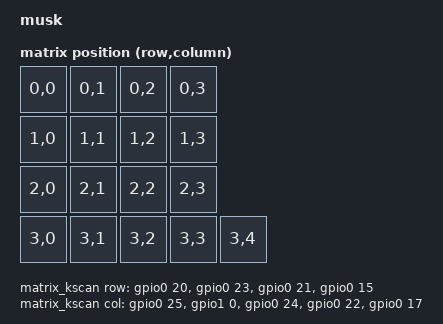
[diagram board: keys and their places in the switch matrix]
/*
 * Copyright (c) 2020 Pete Johanson
 *
 * SPDX-License-Identifier: MIT
 */

/dts-v1/;
#include <nordic/nrf52840_qiaa.dtsi>
#include <dt-bindings/zmk/matrix_transform.h>

/ {
    model = "musk";
    compatible = "musk";

    chosen {
        zephyr,code-partition = &code_partition;
        zephyr,sram = &sram0;
        zephyr,flash = &flash0;
        zmk,kscan = &matrix_kscan;
        zmk,matrix_transform = &transform;
        /* zmk,steno_flash = &spi_flash; */
        zmk,led-widgets-dev = &leds;
        zmk,battery = &bat;
    };

    transform: transform {
        compatible = "zmk,matrix-transform";
        columns = <5>;
        rows = <4>;
        map = <
RC(0,0) RC(0,1) RC(0,2) RC(0,3)
RC(1,0) RC(1,1) RC(1,2) RC(1,3)
RC(2,0) RC(2,1) RC(2,2) RC(2,3)
RC(3,0) RC(3,1) RC(3,2) RC(3,3) RC(3,4)
        >;
    };

    matrix_kscan: kscan0 {
        compatible = "zmk,kscan-gpio-matrix";
        label = "matrix_kscan";
        diode-direction = "col2row";
        row-gpios
            = <&gpio0 20 (GPIO_ACTIVE_HIGH | GPIO_PULL_DOWN)>
            , <&gpio0 23 (GPIO_ACTIVE_HIGH | GPIO_PULL_DOWN)>
            , <&gpio0 21 (GPIO_ACTIVE_HIGH | GPIO_PULL_DOWN)>
            , <&gpio0 15 (GPIO_ACTIVE_HIGH | GPIO_PULL_DOWN)>
            ;
        col-gpios
            = <&gpio0 25 GPIO_ACTIVE_HIGH>
            , <&gpio1  0 GPIO_ACTIVE_HIGH>
            , <&gpio0 24 GPIO_ACTIVE_HIGH>
            , <&gpio0 22 GPIO_ACTIVE_HIGH>
            , <&gpio0 17 GPIO_ACTIVE_HIGH>
            ;
    };

    leds: leds {
        compatible = "pwm-leds";
        red_led: led_r {
            pwms = <&pwm0 5>;
            label = "Red LED";
        };
        green_led: led_g {
            pwms = <&pwm0 4>;
            label = "Green LED";
        };
        blue_led: led_b {
            pwms = <&pwm0 26>;
            label = "Blue LED";
        };
    };

    nood {
        compatible = "pwm-leds";
        strip: led_y {
            pwms = <&pwm0 35>;
            label = "nOOd";
        };
    };

    bat: vbatt {
        compatible = "zmk,battery-voltage-divider";
        label = "BATTERY";
        io-channels = <&adc 7>;
        output-ohms = <1>;
        full-ohms = <(1 + 1)>;
        power-gpios = <&gpio0 27 GPIO_ACTIVE_LOW>;
    };

    led-widgets {
        compatible = "zmk,led-widgets";
        boot {
            boot {
                priority = <100>;
                blue { len-ms = <100>; brightness = <0 0 50>; };
                off { len-ms = <100>; };
                blue2 { len-ms = <100>; brightness = <0 0 50>; };
            };
        };
        battery {
            low {
                arg = <30>;
                priority = <50>;
                period-ms = <30000>;
                green { len-ms = <100>; brightness = <0 20 0>; };
                red { len-ms = <200>; brightness = <100 0 0>; };
            };
            mid {
                arg = <70>;
                priority = <50>;
                period-ms = <30000>;
                green { len-ms = <100>; brightness = <0 20 0>; };
                yellow { len-ms = <200>; brightness = <100 100 0>; };
            };
            high {
                arg = <100>;
                priority = <50>;
                period-ms = <30000>;
                green { len-ms = <50>; brightness = <0 100 0>; };
            };
        };
        layer {
            lower {
                arg = <1>;
                priority = <20>;
                stat { brightness = <0 0 20>; };
            };
            raise {
                arg = <2>;
                priority = <20>;
                stat { brightness = <0 20 0>; };
            };
            game {
                arg = <3>;
                priority = <20>;
                stat { brightness = <0 0 50>; };
            };
            steno {
                arg = <4>;
                priority = <20>;
                stat { brightness = <50 0 0>; };
            };
        };
        output {
            usb {
                arg = <0>;
                priority = <100>;
                stat { len-ms = <200>; brightness = <0 75 0>; };
            };
            ble {
                arg = <1>;
                priority = <100>;
                stat { len-ms = <200>; brightness = <0 0 100>; };
            };
        };
        profile {
            0 {
                arg = <0>;
                priority = <90>;
                head { len-ms = <50>; brightness = <0 0 50>; };
                off { len-ms = <150>; };
                tail { len-ms = <100>; brightness = <100 0 0>; };
            };
            1 {
                arg = <1>;
                priority = <90>;
                head { len-ms = <50>; brightness = <0 0 50>; };
                off { len-ms = <150>; };
                tail { len-ms = <100>; brightness = <0 100 0>; };
            };
            2 {
                arg = <2>;
                priority = <90>;
                head { len-ms = <50>; brightness = <0 0 50>; };
                off { len-ms = <150>; };
                tail { len-ms = <100>; brightness = <0 0 100>; };
            };
        };
    };
};

&pwm0 {
    status = "okay";
    ch0-pin = <5>;
    ch1-pin = <4>;
    ch2-pin = <26>;
    ch3-pin = <35>;
    ch0-inverted;
    ch1-inverted;
    ch2-inverted;
};

&adc {
    status = "okay";
};

&gpiote {
    status = "okay";
};

&gpio0 {
    status = "okay";
};

&gpio1 {
    status = "okay";
};

&usbd {
    status = "okay";
};


&flash0 {
    /*
     * For more information, see:
     * http://docs.zephyrproject.org/latest/devices/dts/flash_partitions.html
     */
    partitions {
        compatible = "fixed-partitions";
        #address-cells = <1>;
        #size-cells = <1>;

        code_partition: partition@0 {
            label = "code_partition";
            reg = <0x00000000 0x000e0000>;
        };

        /*
         * Storage partition will be used by FCB/LittleFS/NVS
         * if enabled.
         */
        storage_partition: partition@e0000 {
            label = "storage";
            reg = <0x000e0000 0x00020000>;
        };
    };
};

&spi0 {
    compatible = "nordic,nrf-spim";
    status = "okay";
    sck-pin = <40>;
    mosi-pin = <6>;
    miso-pin = <7>;

    cs-gpios = <&gpio0 1 GPIO_ACTIVE_LOW>, <&gpio0 11 GPIO_ACTIVE_LOW>, <&gpio0 12 GPIO_ACTIVE_LOW>;
    /* spi_flash: flash@0 { */
    /*     compatible = "jedec,spi-nor"; */
    /*     status = "okay"; */
    /*     reg = <0>; */
    /*     spi-max-frequency = <8000000>; */
    /*     label = "MT25Q"; */
    /*     jedec-id = [ef 40 18]; */
    /*     size = <0x8000000>; */
    /*     has-dpd; */
    /*     t-enter-dpd = <3000>; */
    /*     t-exit-dpd = <30000>; */
    /* }; */
    imu: imu@1 {
        compatible = "st,lsm6dsl";      // XXX device?
        status = "okay";
        reg = <1>;
        spi-max-frequency = <10000000>;
        label = "LSM6";
        irq-gpios = <&gpio0 0 GPIO_ACTIVE_HIGH>;
    };
};

&spi1 {
    compatible = "nordic,nrf-spim";
    status = "okay";
    sck-pin = <16>;
    mosi-pin = <14>;
    miso-pin = <14>;

    cs-gpios = <&gpio0 12 GPIO_ACTIVE_LOW>;
    mouse: mouse@0 {
        compatible = "pixart,pmw3610";
        status = "okay";
        reg = <0>;
        spi-max-frequency = <1000000>;
        label = "pmw3610";
        irq-gpios = <&gpio0 8 GPIO_ACTIVE_LOW>;
        rst-gpios = <&gpio1 9 GPIO_ACTIVE_LOW>;
    };
};
